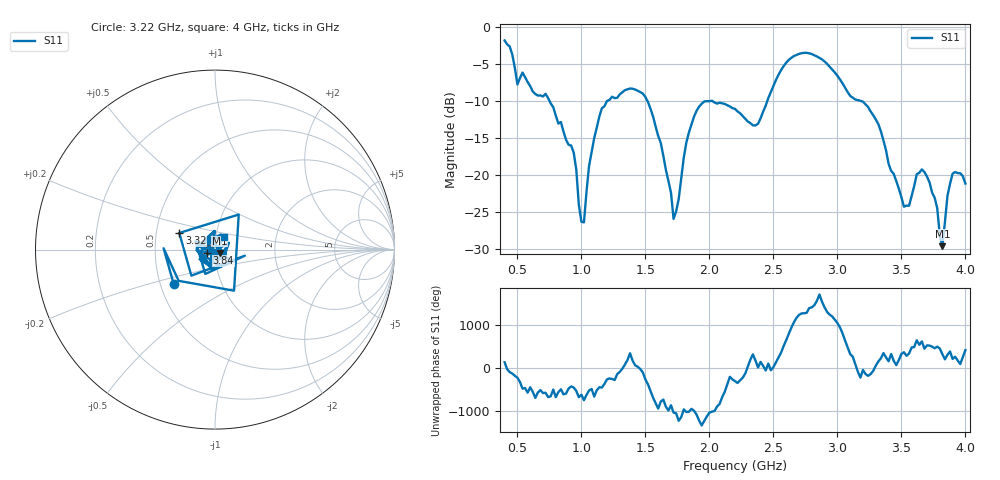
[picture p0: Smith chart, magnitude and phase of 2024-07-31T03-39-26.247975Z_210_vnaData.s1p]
!Created with skrf (http://scikit-rf.org).
# Hz S RI R 50.0
!freq ReS11 ImS11
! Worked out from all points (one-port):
!   181 points, 400 MHz to 4 GHz, reference 50 ohm
!   lowest |S11| = -29.7 dB at 3.82 GHz (marker M1), VSWR 1.07, Z = 52.7 - j2.05 ohm
!   |S11| at or under -10 dB: 749.8 MHz to 1.205 GHz (454.8 MHz wide, 46.5 % of centre); 1.515 GHz to 2.453 GHz (938.4 MHz wide, 47.3 % of centre); 3.177 GHz to end of sweep
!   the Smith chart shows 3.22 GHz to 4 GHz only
!   S11 on the Smith chart (normalised r, x): 3.22 GHz: 0.59, -0.24; 3.32 GHz: 0.66, +0.13; 3.84 GHz: 0.92, -0.03; 4 GHz: 1.09, +0.16
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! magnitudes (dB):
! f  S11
! 400 MHz  -1.9
! 500 MHz  -7.8
! 720 MHz  -9.1
! 860 MHz  -14.2
! 940 MHz  -17.0
! 980 MHz  -24.1
! 1.02 GHz  -26.4
! 1.06 GHz  -18.8
! 1.14 GHz  -12.1
! 1.3 GHz  -9.1
! 1.5 GHz  -9.5
! 1.62 GHz  -15.7
! 1.72 GHz  -26.0
! 1.76 GHz  -23.3
! 1.82 GHz  -15.6
! 1.92 GHz  -10.8
! 2.2 GHz  -11.1
! 2.38 GHz  -13.1
! 2.66 GHz  -4.0
! 3.1 GHz  -9.4
! 3.22 GHz  -10.5
! 3.32 GHz  -13.2
! 3.56 GHz  -24.2
! 3.68 GHz  -19.6
! 3.82 GHz  -29.7
! 3.84 GHz  -26.4
! 3.9 GHz  -19.9
! 4 GHz  -21.2
